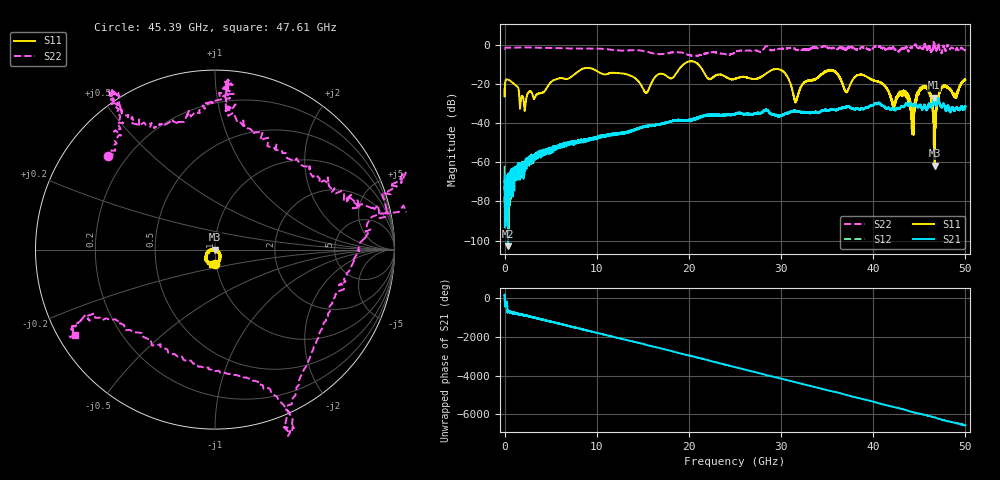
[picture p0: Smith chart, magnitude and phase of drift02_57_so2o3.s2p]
!Created with skrf (http://scikit-rf.org).
# Hz S RI R 50.0
!freq ReS11 ImS11 ReS21 ImS21 ReS12 ImS12 ReS22 ImS22
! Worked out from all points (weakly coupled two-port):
!   10001 points, 300 kHz to 50 GHz, reference 50 ohm
!   highest |S21| = -27.03 dB at 46.61 GHz (marker M1); lowest = -102.8 dB at 375.3 MHz (marker M2)
!   lowest |S11| = -61.7 dB at 46.67 GHz (marker M3), VSWR 1.00, Z = 49.9 + j0.0272 ohm
!   |S11| at or under -10 dB: start of sweep to 19.42 GHz; 21.01 GHz to end of sweep
!   |S22| runs from -5.7 to 2.2 dB; largest |S21 - S12| = 0.0043
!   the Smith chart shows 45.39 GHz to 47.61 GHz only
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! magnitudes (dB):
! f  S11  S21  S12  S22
! 300 kHz  -22.7  -65.9  -61.8  -2.1
! 375.3 MHz  -17.8  -102.8  -76.0  -1.4
! 2.18 GHz  -33.4  -62.0  -64.3  -1.3
! 8.335 GHz  -12.5  -48.7  -49.6  -1.9
! 15.34 GHz  -24.5  -41.7  -41.5  -3.3
! 16.67 GHz  -15.1  -41.0  -40.8  -4.7
! 20.3 GHz  -8.4  -38.3  -38.3  -5.6
! 25 GHz  -17.4  -35.6  -35.4  -3.9
! 29.85 GHz  -12.6  -36.3  -36.5  -2.0
! 31.6 GHz  -29.1  -33.8  -34.0  -2.5
! 33.34 GHz  -18.1  -34.3  -34.4  -1.6
! 35.6 GHz  -13.0  -33.2  -33.2  -1.6
! 37.1 GHz  -24.3  -31.8  -31.7  -2.2
! 38.76 GHz  -15.3  -32.8  -32.8  -1.0
! 41.67 GHz  -24.0  -31.9  -32.1  -2.0
! 43.52 GHz  -24.9  -30.3  -30.5  -1.1
! 44.27 GHz  -39.2  -31.1  -31.1  -1.5
! 45.7 GHz  -21.6  -32.7  -32.4  -0.8
! 46.61 GHz  -39.8  -27.0  -26.9  2.2
! 46.67 GHz  -61.7  -29.0  -28.6  0.3
! 47.47 GHz  -21.8  -31.7  -31.7  -3.5
! 50 GHz  -17.9  -31.5  -31.5  -2.7
